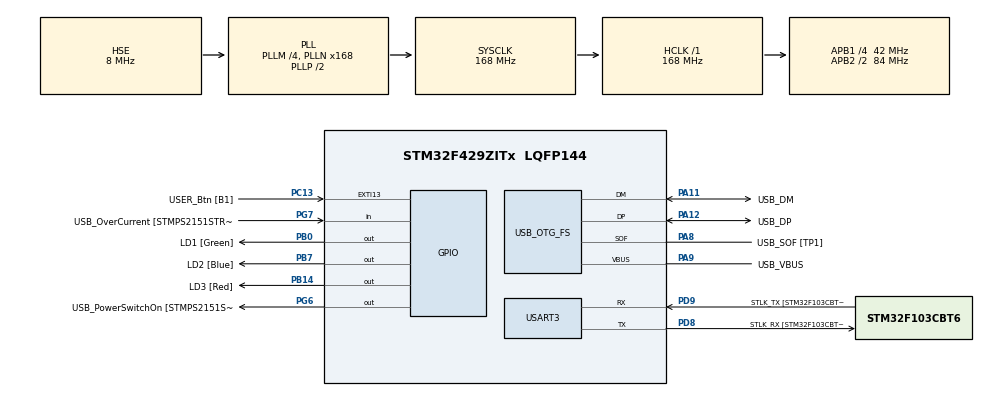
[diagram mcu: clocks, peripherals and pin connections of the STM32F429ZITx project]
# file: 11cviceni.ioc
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Mcu.Family=STM32F4
Mcu.Name=STM32F429ZITx
Mcu.Package=LQFP144
NVIC.OTG_FS_IRQn=true\:0\:0\:false\:false\:true\:false\:true\:true
NVIC.PriorityGroup=NVIC_PRIORITYGROUP_4
PA1.GPIO_Label=RMII_REF_CLK [LAN8742A-CZ-TR_REFCLK0]
PA1.Signal=ETH_REF_CLK
PA10.GPIO_Label=USB_ID
PA10.Signal=USB_OTG_FS_ID
PA11.GPIO_Label=USB_DM
PA11.Mode=Device_Only
PA11.Signal=USB_OTG_FS_DM
PA12.GPIO_Label=USB_DP
PA12.Mode=Device_Only
PA12.Signal=USB_OTG_FS_DP
PA13.GPIO_Label=TMS
PA13.Mode=Serial_Wire
PA13.Signal=SYS_JTMS-SWDIO
PA14.GPIO_Label=TCK
PA14.Mode=Serial_Wire
PA14.Signal=SYS_JTCK-SWCLK
PA2.GPIO_Label=RMII_MDIO [LAN8742A-CZ-TR_MDIO]
PA2.Signal=ETH_MDIO
PA7.GPIO_Label=RMII_CRS_DV [LAN8742A-CZ-TR_CRS_DV]
PA7.Signal=ETH_CRS_DV
PA8.GPIO_Label=USB_SOF [TP1]
PA8.Mode=Activate_SOF_FS
PA8.Signal=USB_OTG_FS_SOF
PA9.GPIO_Label=USB_VBUS
PA9.Mode=Activate_VBUS
PA9.Signal=USB_OTG_FS_VBUS
PB0.GPIO_Label=LD1 [Green]
PB0.Signal=GPIO_Output
PB13.GPIO_Label=RMII_TXD1 [LAN8742A-CZ-TR_TXD1]
PB13.Signal=ETH_TXD1
PB14.GPIO_Label=LD3 [Red]
PB14.Signal=GPIO_Output
PB7.GPIO_Label=LD2 [Blue]
PB7.Signal=GPIO_Output
PC1.GPIO_Label=RMII_MDC [LAN8742A-CZ-TR_MDC]
PC1.Signal=ETH_MDC
PC13.GPIO_Label=USER_Btn [B1]
PC13.Signal=GPXTI13
PC14/OSC32_IN.Mode=LSE-External-Oscillator
PC14/OSC32_IN.Signal=RCC_OSC32_IN
PC15/OSC32_OUT.Mode=LSE-External-Oscillator
PC15/OSC32_OUT.Signal=RCC_OSC32_OUT
PC4.GPIO_Label=RMII_RXD0 [LAN8742A-CZ-TR_RXD0]
PC4.Signal=ETH_RXD0
PC5.GPIO_Label=RMII_RXD1 [LAN8742A-CZ-TR_RXD1]
PC5.Signal=ETH_RXD1
PD8.GPIO_Label=STLK_RX [STM32F103CBT6_PA3]
PD8.Mode=Asynchronous
PD8.Signal=USART3_TX
PD9.GPIO_Label=STLK_TX [STM32F103CBT6_PA2]
PD9.Mode=Asynchronous
PD9.Signal=USART3_RX
PG11.GPIO_Label=RMII_TX_EN [LAN8742A-CZ-TR_TXEN]
PG11.Signal=ETH_TX_EN
PG13.GPIO_Label=RMII_TXD0 [LAN8742A-CZ-TR_TXD0]
PG13.Signal=ETH_TXD0
PG6.GPIO_Label=USB_PowerSwitchOn [STMPS2151STR_EN]
PG6.Signal=GPIO_Output
PG7.GPIO_Label=USB_OverCurrent [STMPS2151STR_FAULT]
PG7.Signal=GPIO_Input
PH0/OSC_IN.GPIO_Label=MCO [STM32F103CBT6_PA8]
PH0/OSC_IN.Mode=HSE-External-Clock-Source
PH0/OSC_IN.Signal=RCC_OSC_IN
PH1/OSC_OUT.Mode=HSE-External-Clock-Source
PH1/OSC_OUT.Signal=RCC_OSC_OUT
ProjectManager.HeapSize=0x200
ProjectManager.StackSize=0x400
ProjectManager.TargetToolchain=STM32CubeIDE
RCC.48MHZClocksFreq_Value=48000000
RCC.AHBFreq_Value=168000000
RCC.APB1CLKDivider=RCC_HCLK_DIV4
RCC.APB1Freq_Value=42000000
RCC.APB1TimFreq_Value=84000000
RCC.APB2CLKDivider=RCC_HCLK_DIV2
RCC.APB2Freq_Value=84000000
RCC.APB2TimCLKDivider=2
RCC.APB2TimFreq_Value=168000000
RCC.CortexFreq_Value=168000000
RCC.HCLKFreq_Value=168000000
RCC.HSE_VALUE=8000000
RCC.HSI_VALUE=16000000
RCC.PLLM=4
RCC.PLLMUL=RCC_PLL_MUL9
RCC.PLLN=168
RCC.PLLQ=7
RCC.PRESCALERUSB=RCC_USBCLKSOURCE_PLL_DIV1_5
RCC.SYSCLKFreq_VALUE=168000000
RCC.SYSCLKSource=RCC_SYSCLKSOURCE_PLLCLK
RCC.SYSCLKSourceVirtual=RCC_SYSCLKSOURCE_PLLCLK
RCC.USBFreq_Value=48000000
RCC.VCOOutputFreq_Value=336000000
USART3.VirtualMode=VM_ASYNC
USB_DEVICE.CLASS_NAME_FS=HID
USB_DEVICE.VirtualMode-HID_FS=Hid
USB_DEVICE.VirtualModeFS=Hid_FS
USB_OTG_FS.VirtualMode=Device_Only
VP_USB_DEVICE_VS_USB_DEVICE_HID_FS.Mode=HID_FS
board=NUCLEO-F429ZI

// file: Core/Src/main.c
/* USER CODE BEGIN Header */
/**
  ******************************************************************************
  * @file           : main.c
  * @brief          : Main program body
  ******************************************************************************
  * @attention
  *
  * Copyright (c) 2022 STMicroelectronics.
  * All rights reserved.
  *
  * This software is licensed under terms that can be found in the LICENSE file
  * in the root directory of this software component.
  * If no LICENSE file comes with this software, it is provided AS-IS.
  *
  ******************************************************************************
  */
/* USER CODE END Header */
#include "main.h"
#include "usb_device.h"

/* USER CODE BEGIN Includes */
#include "usbd_hid.h"
#include <stdbool.h>
#include <math.h>
/* USER CODE END Includes */

/* USER CODE BEGIN PD */
#define RADIUS 120 // Pixels
#define pi 3.14159265359 // Pi
/* USER CODE END PD */

UART_HandleTypeDef huart3;

/* USER CODE BEGIN PV */
extern USBD_HandleTypeDef hUsbDeviceFS;
/* USER CODE END PV */

void SystemClock_Config(void);
static void MX_GPIO_Init(void);
static void MX_USART3_UART_Init(void);

/* USER CODE BEGIN 0 */
static void step(int8_t x, int8_t y, uint8_t btn) {
	uint8_t buff[4];
	buff[0] = btn; // Push left mouse button
	buff[1] = x; // Move X axis
	buff[2] = -y; // Move Y axis, Y axis is inverse, so -Y for standard imagination
	buff[3] = 0; // Mouse scroll
	USBD_HID_SendReport(&hUsbDeviceFS, buff, sizeof(buff));
	HAL_Delay(USBD_HID_GetPollingInterval(&hUsbDeviceFS)); // Delay for PC request
}
static void circle(int8_t radius, int8_t degree, uint8_t draw, uint8_t half) {
	static float x = 0;  // This function draws a circle with parameter radius.
	static float y = 0;  // It moves itself from default starting point.
	static float sx = 0; // It is drawing circle in counter-clockwise direction
	static float sy = 0; // Degree defines amount of degree/10 moved or drawn.
	static float dx = 0; // Draw defines if this circle should be drawn or moved
	static float dy = 0; // If half is 1, then second half circuit is drawn
	for (uint8_t i = 0; i<=degree; i++) {
		x = radius*cos(i*2*pi/36);
		y = radius*sin(i*2*pi/36);
		dx = (x-sx);
		dy = (y-sy);
		if ((half==1) && (i>=18)) {
			step(dx, dy, half);
		}
		else if ((half==1) && (i<18)) {
			step(0,0,0);
			step(dx, dy, 0);
		}
		else {
			step(dx, dy, draw);
		}
		sx=x;
		sy=y;
		HAL_Delay(10);
	}

}
static void smile(int8_t radius){ // This function draws a whole smile
	circle(radius, (int8_t) 36, (uint8_t) 1, (uint8_t) 0);
	step(0,0,0);
	step(-radius/4, 0, (uint8_t) 0);
	circle(radius/4, (int8_t) 36, (uint8_t) 1, (uint8_t) 0);
	step(0,0,0);
	step(-6*radius/4, 0, (uint8_t) 0);
	circle(radius/4, (int8_t) 36, (uint8_t) 1, (uint8_t) 0);
	step(0,0,0);
	step(-radius/2-5, 0, (uint8_t) 0);
	step(0,0,1);
	step(0, -radius/3, (uint8_t) 1);
	step(0,0,0);
	step(radius/4, 0, (uint8_t) 0);
	circle(radius/2, (int8_t) 36, (uint8_t) 1, (uint8_t) 1);
	step(0,0,0);
}
/* USER CODE END 0 */

int main(void)
{

  /* MCU Configuration--------------------------------------------------------*/

  /* Reset of all peripherals, Initializes the Flash interface and the Systick. */
  HAL_Init();

  /* Configure the system clock */
  SystemClock_Config();

  /* Initialize all configured peripherals */
  MX_GPIO_Init();
  MX_USART3_UART_Init();
  MX_USB_DEVICE_Init();

  /* Infinite loop */
  while (1)
  {

    /* USER CODE BEGIN 3 */
	  if (HAL_GPIO_ReadPin(USER_Btn_GPIO_Port, USER_Btn_Pin)) {
		  smile(RADIUS);
	  }
  }
  /* USER CODE END 3 */
}

void SystemClock_Config(void)
{
  RCC_OscInitTypeDef RCC_OscInitStruct = {0};
  RCC_ClkInitTypeDef RCC_ClkInitStruct = {0};

  /** Configure the main internal regulator output voltage
  */
  __HAL_RCC_PWR_CLK_ENABLE();
  __HAL_PWR_VOLTAGESCALING_CONFIG(PWR_REGULATOR_VOLTAGE_SCALE1);

  /** Initializes the RCC Oscillators according to the specified parameters
  * in the RCC_OscInitTypeDef structure.
  */
  RCC_OscInitStruct.OscillatorType = RCC_OSCILLATORTYPE_HSE;
  RCC_OscInitStruct.HSEState = RCC_HSE_BYPASS;
  RCC_OscInitStruct.PLL.PLLState = RCC_PLL_ON;
  RCC_OscInitStruct.PLL.PLLSource = RCC_PLLSOURCE_HSE;
  RCC_OscInitStruct.PLL.PLLM = 4;
  RCC_OscInitStruct.PLL.PLLN = 168;
  RCC_OscInitStruct.PLL.PLLP = RCC_PLLP_DIV2;
  RCC_OscInitStruct.PLL.PLLQ = 7;
  if (HAL_RCC_OscConfig(&RCC_OscInitStruct) != HAL_OK)
  {
    Error_Handler();
  }

  /** Initializes the CPU, AHB and APB buses clocks
  */
  RCC_ClkInitStruct.ClockType = RCC_CLOCKTYPE_HCLK|RCC_CLOCKTYPE_SYSCLK
                              |RCC_CLOCKTYPE_PCLK1|RCC_CLOCKTYPE_PCLK2;
  RCC_ClkInitStruct.SYSCLKSource = RCC_SYSCLKSOURCE_PLLCLK;
  RCC_ClkInitStruct.AHBCLKDivider = RCC_SYSCLK_DIV1;
  RCC_ClkInitStruct.APB1CLKDivider = RCC_HCLK_DIV4;
  RCC_ClkInitStruct.APB2CLKDivider = RCC_HCLK_DIV2;

  if (HAL_RCC_ClockConfig(&RCC_ClkInitStruct, FLASH_LATENCY_5) != HAL_OK)
  {
    Error_Handler();
  }
}

static void MX_USART3_UART_Init(void)
{

  huart3.Instance = USART3;
  huart3.Init.BaudRate = 115200;
  huart3.Init.WordLength = UART_WORDLENGTH_8B;
  huart3.Init.StopBits = UART_STOPBITS_1;
  huart3.Init.Parity = UART_PARITY_NONE;
  huart3.Init.Mode = UART_MODE_TX_RX;
  huart3.Init.HwFlowCtl = UART_HWCONTROL_NONE;
  huart3.Init.OverSampling = UART_OVERSAMPLING_16;
  if (HAL_UART_Init(&huart3) != HAL_OK)
  {
    Error_Handler();
  }

}

static void MX_GPIO_Init(void)
{
  GPIO_InitTypeDef GPIO_InitStruct = {0};

  /* GPIO Ports Clock Enable */
  __HAL_RCC_GPIOC_CLK_ENABLE();
  __HAL_RCC_GPIOH_CLK_ENABLE();
  __HAL_RCC_GPIOA_CLK_ENABLE();
  __HAL_RCC_GPIOB_CLK_ENABLE();
  __HAL_RCC_GPIOD_CLK_ENABLE();
  __HAL_RCC_GPIOG_CLK_ENABLE();

  /*Configure GPIO pin Output Level */
  HAL_GPIO_WritePin(GPIOB, LD1_Pin|LD3_Pin|LD2_Pin, GPIO_PIN_RESET);

  /*Configure GPIO pin Output Level */
  HAL_GPIO_WritePin(USB_PowerSwitchOn_GPIO_Port, USB_PowerSwitchOn_Pin, GPIO_PIN_RESET);

  /*Configure GPIO pin : USER_Btn_Pin */
  GPIO_InitStruct.Pin = USER_Btn_Pin;
  GPIO_InitStruct.Mode = GPIO_MODE_IT_RISING;
  GPIO_InitStruct.Pull = GPIO_NOPULL;
  HAL_GPIO_Init(USER_Btn_GPIO_Port, &GPIO_InitStruct);

  /*Configure GPIO pins : RMII_MDC_Pin RMII_RXD0_Pin RMII_RXD1_Pin */
  GPIO_InitStruct.Pin = RMII_MDC_Pin|RMII_RXD0_Pin|RMII_RXD1_Pin;
  GPIO_InitStruct.Mode = GPIO_MODE_AF_PP;
  GPIO_InitStruct.Pull = GPIO_NOPULL;
  GPIO_InitStruct.Speed = GPIO_SPEED_FREQ_VERY_HIGH;
  GPIO_InitStruct.Alternate = GPIO_AF11_ETH;
  HAL_GPIO_Init(GPIOC, &GPIO_InitStruct);

  /*Configure GPIO pins : RMII_REF_CLK_Pin RMII_MDIO_Pin RMII_CRS_DV_Pin */
  GPIO_InitStruct.Pin = RMII_REF_CLK_Pin|RMII_MDIO_Pin|RMII_CRS_DV_Pin;
  GPIO_InitStruct.Mode = GPIO_MODE_AF_PP;
  GPIO_InitStruct.Pull = GPIO_NOPULL;
  GPIO_InitStruct.Speed = GPIO_SPEED_FREQ_VERY_HIGH;
  GPIO_InitStruct.Alternate = GPIO_AF11_ETH;
  HAL_GPIO_Init(GPIOA, &GPIO_InitStruct);

  /*Configure GPIO pins : LD1_Pin LD3_Pin LD2_Pin */
  GPIO_InitStruct.Pin = LD1_Pin|LD3_Pin|LD2_Pin;
  GPIO_InitStruct.Mode = GPIO_MODE_OUTPUT_PP;
  GPIO_InitStruct.Pull = GPIO_NOPULL;
  GPIO_InitStruct.Speed = GPIO_SPEED_FREQ_LOW;
  HAL_GPIO_Init(GPIOB, &GPIO_InitStruct);

  /*Configure GPIO pin : RMII_TXD1_Pin */
  GPIO_InitStruct.Pin = RMII_TXD1_Pin;
  GPIO_InitStruct.Mode = GPIO_MODE_AF_PP;
  GPIO_InitStruct.Pull = GPIO_NOPULL;
  GPIO_InitStruct.Speed = GPIO_SPEED_FREQ_VERY_HIGH;
  GPIO_InitStruct.Alternate = GPIO_AF11_ETH;
  HAL_GPIO_Init(RMII_TXD1_GPIO_Port, &GPIO_InitStruct);

  /*Configure GPIO pin : USB_PowerSwitchOn_Pin */
  GPIO_InitStruct.Pin = USB_PowerSwitchOn_Pin;
  GPIO_InitStruct.Mode = GPIO_MODE_OUTPUT_PP;
  GPIO_InitStruct.Pull = GPIO_NOPULL;
  GPIO_InitStruct.Speed = GPIO_SPEED_FREQ_LOW;
  HAL_GPIO_Init(USB_PowerSwitchOn_GPIO_Port, &GPIO_InitStruct);

  /*Configure GPIO pin : USB_OverCurrent_Pin */
  GPIO_InitStruct.Pin = USB_OverCurrent_Pin;
  GPIO_InitStruct.Mode = GPIO_MODE_INPUT;
  GPIO_InitStruct.Pull = GPIO_NOPULL;
  HAL_GPIO_Init(USB_OverCurrent_GPIO_Port, &GPIO_InitStruct);

  /*Configure GPIO pins : RMII_TX_EN_Pin RMII_TXD0_Pin */
  GPIO_InitStruct.Pin = RMII_TX_EN_Pin|RMII_TXD0_Pin;
  GPIO_InitStruct.Mode = GPIO_MODE_AF_PP;
  GPIO_InitStruct.Pull = GPIO_NOPULL;
  GPIO_InitStruct.Speed = GPIO_SPEED_FREQ_VERY_HIGH;
  GPIO_InitStruct.Alternate = GPIO_AF11_ETH;
  HAL_GPIO_Init(GPIOG, &GPIO_InitStruct);

}

void Error_Handler(void)
{
  __disable_irq();
  while (1)
  {
  }
}
